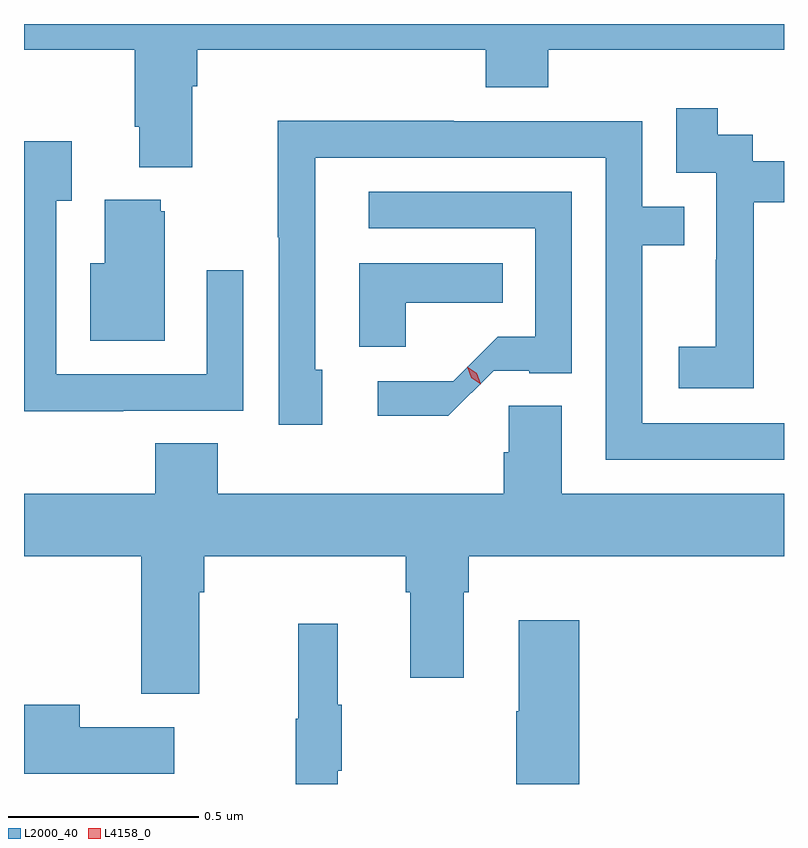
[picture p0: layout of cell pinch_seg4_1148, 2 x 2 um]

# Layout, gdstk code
import gdstk
lib = gdstk.Library(unit=1e-6, precision=1e-09)
def P(c, l, *ps):  # polygons
    for p in ps: c.add(gdstk.Polygon(p, *l))
L2000_40 = (2000, 40)
L4158_0 = (4158, 0)

pinch_seg4_1148 = lib.new_cell('pinch_seg4_1148')
P(pinch_seg4_1148, L2000_40, [(514.129,794.06),(514.142,794.06),(514.142,794.156),(514.901,794.156),(514.901,794.057),(515.066,794.057),(515.066,794.156),(515.686,794.156),(515.686,794.224),(513.686,794.224),(513.686,794.156),(513.977,794.156),(513.977,793.954),(513.989,793.954),(513.989,793.847),(514.129,793.847)],
  [(515.607,793.471),(515.606,793.471),(515.606,793.755),(515.686,793.755),(515.686,793.863),(515.604,793.863),(515.604,793.932),(515.512,793.932),(515.512,794.002),(515.403,794.002),(515.403,793.833),(515.508,793.833),(515.508,793.604),(515.507,793.604),(515.507,793.375),(515.409,793.375),(515.409,793.265),(515.607,793.265)],
  [(515.686,793.173),(515.313,793.173),(515.313,793.642),(515.423,793.642),(515.423,793.743),(515.313,793.743),(515.313,793.968),(514.817,793.968),(514.817,793.97),(514.354,793.97),(514.354,793.663),(514.356,793.663),(514.356,793.17),(514.471,793.17),(514.471,793.314),(514.452,793.314),(514.452,793.872),(515.217,793.872),(515.217,793.077),(515.686,793.077)],
  [(513.947,793.206),(514.263,793.206),(514.263,793.576),(514.167,793.576),(514.167,793.302),(513.771,793.302),(513.771,793.759),(513.811,793.759),(513.811,793.915),(513.686,793.915),(513.686,793.205),(513.947,793.205)],
  [(514.922,793.311),(515.015,793.311),(515.015,793.305),(515.127,793.305),(515.127,793.782),(514.593,793.782),(514.593,793.686),(515.031,793.686),(515.031,793.401),(514.933,793.401),(514.816,793.284),(514.617,793.284),(514.617,793.193),(514.803,793.193)],
  [(514.057,793.731),(514.046,793.731),(514.046,793.762),(513.899,793.762),(513.899,793.594),(513.86,793.594),(513.86,793.391),(514.057,793.391)],
  [(514.69,793.49),(514.946,793.49),(514.946,793.594),(514.568,793.594),(514.568,793.375),(514.69,793.375)],
  [(514.147,792.728),(514.16,792.728),(514.16,792.824),(514.691,792.824),(514.691,792.728),(514.703,792.728),(514.703,792.504),(514.843,792.504),(514.843,792.728),(514.856,792.728),(514.856,792.824),(515.686,792.824),(515.686,792.988),(515.101,792.988),(515.101,793.22),(514.962,793.22),(514.962,793.097),(514.949,793.097),(514.949,792.988),(514.196,792.988),(514.196,793.121),(514.031,793.121),(514.031,792.988),(513.686,792.988),(513.686,792.824),(513.995,792.824),(513.995,792.462),(514.147,792.462)],
  [(515.147,792.655),(514.988,792.655),(514.988,792.416),(514.981,792.416),(514.981,792.224),(515.147,792.224)],
  [(514.511,792.259),(514.522,792.259),(514.522,792.433),(514.511,792.433),(514.511,792.646),(514.408,792.646),(514.408,792.396),(514.401,792.396),(514.401,792.224),(514.511,792.224)],
  [(514.081,792.373),(513.833,792.373),(513.833,792.433),(513.686,792.433),(513.686,792.251),(514.081,792.251)])
P(pinch_seg4_1148, L4158_0, [(514.888,793.276),(514.863,793.293),(514.853,793.322),(514.853,793.322),(514.853,793.322),(514.878,793.305),(514.888,793.277),(514.888,793.276)])

lib.write_gds('pinch_seg4_1148.gds')
